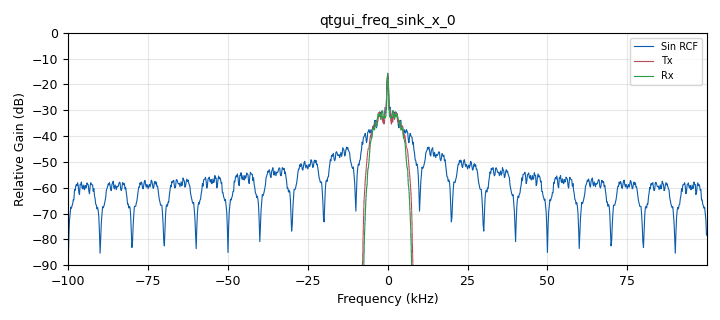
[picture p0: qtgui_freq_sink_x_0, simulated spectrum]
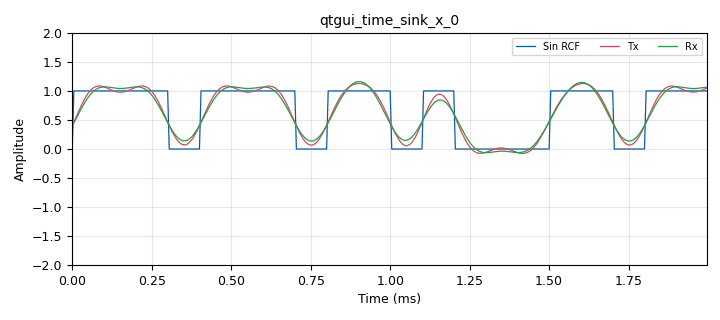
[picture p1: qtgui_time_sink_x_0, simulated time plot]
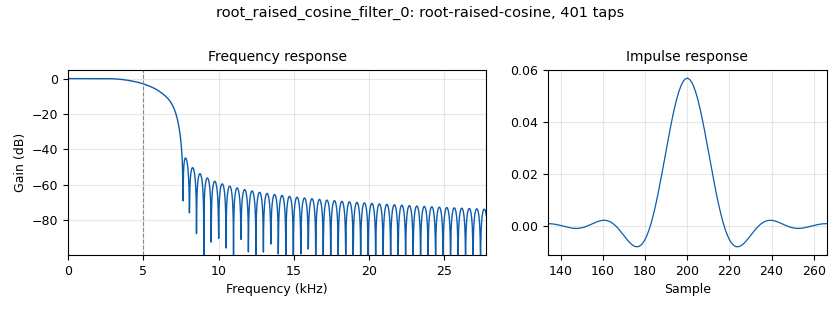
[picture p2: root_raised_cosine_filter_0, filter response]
options:
  parameters:
    author: Marcelo Doallo
    category: Custom
    description: IQ_tutorial_QPSK
    generate_options: qt_gui
    id: Demo_OOK
    output_language: python
    title: OOK Demo
  states: {}

blocks:
- name: Alpha
  id: variable
  parameters:
    value: '0.5'
  states: {}
- name: bit_rate
  id: variable
  parameters:
    value: '10000'
  states: {}
- name: samp_rate
  id: variable
  parameters:
    value: bit_rate*sample_per_bit
  states: {}
- name: sample_per_bit
  id: variable
  parameters:
    value: '20'
  states: {}
- name: taps
  id: variable
  parameters:
    value: sample_per_bit*2*10
  states: {}
- name: analog_random_source_x_0
  id: analog_random_source_x
  parameters:
    max: '2'
    min: '0'
    num_samps: '1000'
    repeat: 'True'
    type: byte
  states: {}
- name: blocks_char_to_float_0
  id: blocks_char_to_float
  parameters:
    scale: '1'
  states: {}
- name: blocks_delay_0
  id: blocks_delay
  parameters:
    delay: '400'
    type: float
  states: {}
- name: blocks_delay_0_0
  id: blocks_delay
  parameters:
    delay: '200'
    type: float
  states: {}
- name: blocks_repeat_0
  id: blocks_repeat
  parameters:
    interp: sample_per_bit
    type: float
  states: {}
- name: blocks_throttle2_0
  id: blocks_throttle2
  parameters:
    samples_per_second: samp_rate
    type: float
  states: {}
- name: qtgui_freq_sink_x_0
  id: qtgui_freq_sink_x
  parameters:
    average: '0.05'
    bw: samp_rate
    ctrlpanel: 'True'
    fc: '0'
    fftsize: '1024'
    gui_hint: tab@1:0,0,1,1
    label1: Sin RCF
    label2: Tx
    label3: Rx
    nconnections: '3'
    type: float
    ymax: '0'
    ymin: '-90'
  states: {}
- name: qtgui_time_sink_x_0
  id: qtgui_time_sink_x
  parameters:
    ctrlpanel: 'True'
    gui_hint: tab@0:0,0,1,1
    label1: Sin RCF
    label2: Tx
    label3: Rx
    nconnections: '3'
    size: sample_per_bit*20
    srate: samp_rate
    tr_mode: qtgui.TRIG_MODE_AUTO
    type: float
    ymax: '2'
    ymin: '-2'
  states: {}
- name: root_raised_cosine_filter_0
  id: root_raised_cosine_filter
  parameters:
    alpha: Alpha
    gain: '1'
    interp: '1'
    ntaps: taps
    samp_rate: samp_rate
    sym_rate: bit_rate
    type: interp_fir_filter_fff
  states: {}
- name: root_raised_cosine_filter_0_0
  id: root_raised_cosine_filter
  parameters:
    alpha: Alpha
    decim: '1'
    gain: '1'
    ntaps: taps
    samp_rate: samp_rate
    sym_rate: bit_rate
    type: fir_filter_fff
  states: {}
- name: tab
  id: qtgui_tab_widget
  parameters:
    gui_hint: 0,0,5,5
    label0: Tiempo
    label1: Espectro
    num_tabs: '2'
  states: {}
- name: virtual_sink_0
  id: virtual_sink
  parameters:
    stream_id: Sin_RCF
  states: {}
- name: virtual_sink_0_0
  id: virtual_sink
  parameters:
    stream_id: Tx
  states: {}
- name: virtual_source_0
  id: virtual_source
  parameters:
    stream_id: Sin_RCF
  states: {}
- name: virtual_source_0_0
  id: virtual_source
  parameters:
    stream_id: Sin_RCF
  states: {}
- name: virtual_source_0_0_1
  id: virtual_source
  parameters:
    stream_id: Tx
  states: {}

connections:
- [analog_random_source_x_0, '0', blocks_char_to_float_0, '0']
- [blocks_char_to_float_0, '0', blocks_repeat_0, '0']
- [blocks_delay_0, '0', qtgui_time_sink_x_0, '0']
- [blocks_delay_0_0, '0', qtgui_time_sink_x_0, '1']
- [blocks_repeat_0, '0', blocks_delay_0, '0']
- [blocks_repeat_0, '0', blocks_throttle2_0, '0']
- [blocks_repeat_0, '0', virtual_sink_0, '0']
- [root_raised_cosine_filter_0, '0', blocks_delay_0_0, '0']
- [root_raised_cosine_filter_0, '0', root_raised_cosine_filter_0_0, '0']
- [root_raised_cosine_filter_0, '0', virtual_sink_0_0, '0']
- [root_raised_cosine_filter_0_0, '0', qtgui_freq_sink_x_0, '2']
- [root_raised_cosine_filter_0_0, '0', qtgui_time_sink_x_0, '2']
- [virtual_source_0, '0', root_raised_cosine_filter_0, '0']
- [virtual_source_0_0, '0', qtgui_freq_sink_x_0, '0']
- [virtual_source_0_0_1, '0', qtgui_freq_sink_x_0, '1']

metadata:
  file_format: 1
  grc_version: 3.10.12.0
